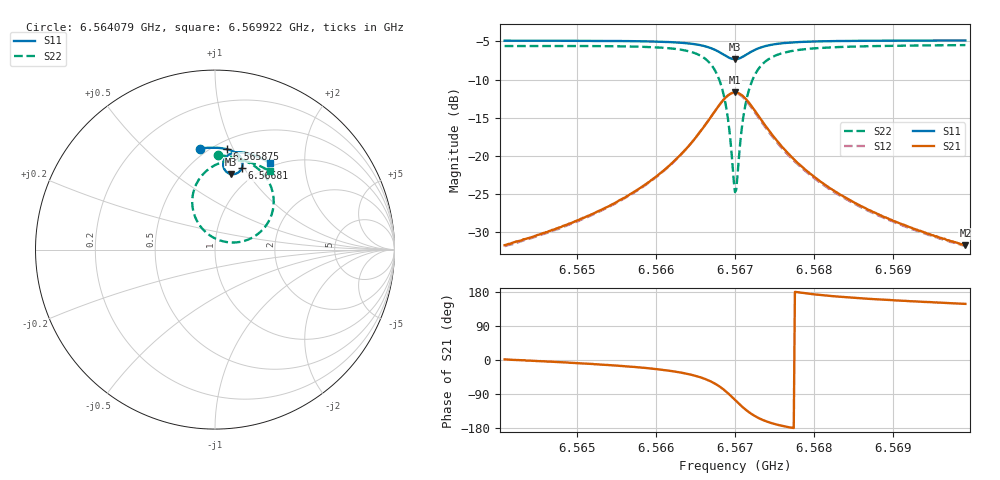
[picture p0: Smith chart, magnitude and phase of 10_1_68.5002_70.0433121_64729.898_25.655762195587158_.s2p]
#  HZ  S  RI  R  50.00
! Rohde & Schwarz Vector Network Analyzer
! Rohde-Schwarz,ZNB20-2Port,1311601062101988,3.16
! Created: UTC 3/20/2024, 5:04:07 PM
! freq[Hz]  re:S11  im:S11  re:S21  im:S21  re:S12  im:S12  re:S22  im:S22
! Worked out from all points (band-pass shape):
!   401 points, 6.564079 GHz to 6.569922 GHz, reference 50 ohm
!   highest |S21| = -11.68 dB at 6.567 GHz (marker M1); lowest = -31.7 dB at 6.569922 GHz (marker M2)
!   |S21| within 3 dB of the highest: 6.566709 GHz to 6.567293 GHz (584.1 kHz wide, 0.00889 % of centre)
!   lowest |S11| = -7.3 dB at 6.567 GHz (marker M3), VSWR 2.51, Z = 40.4 + j41.7 ohm
!   |S11| at or under -10 dB: nowhere
!   |S22| runs from -24.7 to -5.5 dB; largest |S21 - S12| = 0.012
!   S11 on the Smith chart (normalised r, x): 6.564079 GHz: 0.45, +0.75; 6.565875 GHz: 0.58, +0.95; 6.56681 GHz: 0.83, +0.97; 6.569922 GHz: 0.94, +1.35
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6.5640786e9  -0.0841 0.5627  0.026 0.000704  0.0256 0.000178  0.0145 0.5246
6.5650574e9  -0.00525 0.5679  0.0384 -0.00615  0.0378 -0.00667  0.1039 0.5145
6.5658754e9  0.0684 0.5589  0.0612 -0.0237  0.0601 -0.0245  0.2015 0.4772
6.5660361e9  0.0846 0.5542  0.0688 -0.0318  0.0677 -0.0326  0.2262 0.461
6.5663575e9  0.1201 0.5362  0.0886 -0.0617  0.0872 -0.0629  0.2844 0.4019
6.5665766e9  0.1445 0.5097  0.1016 -0.1078  0.0994 -0.1098  0.3225 0.3131
6.5667081e9  0.1534 0.4817  0.0975 -0.1565  0.0937 -0.1592  0.3222 0.2201
6.5668103e9  0.1486 0.4527  0.0718 -0.2065  0.0656 -0.2091  0.2785 0.1262
6.566898e9  0.1286 0.4289  0.0206 -0.245  0.0113 -0.2457  0.1858 0.0562
6.5669272e9  0.1183 0.4236  -0.00291 -0.2529  -0.0129 -0.252  0.1434 0.0435
6.5669856e9  0.0944 0.4203  -0.0553 -0.2544  -0.0656 -0.2502  0.0507 0.0447
6.5670002e9  0.0882 0.4212  -0.0684 -0.2516  -0.0786 -0.2465  0.0277 0.0509
6.5670295e9  0.0764 0.4251  -0.0934 -0.2421  -0.1029 -0.2352  -0.0151 0.0704
6.5670879e9  0.0576 0.4399  -0.1346 -0.2107  -0.1409 -0.2014  -0.082 0.1304
6.5671317e9  0.0491 0.4545  -0.1543 -0.1812  -0.1584 -0.1713  -0.1117 0.1844
6.5671901e9  0.0455 0.4745  -0.1669 -0.1419  -0.1682 -0.1321  -0.1266 0.2547
6.5672632e9  0.0494 0.4961  -0.1668 -0.0996  -0.1657 -0.0913  -0.1182 0.3278
6.5675261e9  0.0884 0.5346  -0.1251 -0.0215  -0.1224 -0.018  -0.0231 0.4571
6.567979e9  0.147 0.5422  -0.0744 0.00801  -0.0726 0.00916  0.0965 0.4963
6.568388e9  0.1872 0.535  -0.0522 0.0131  -0.051 0.0136  0.1618 0.4927
6.5689577e9  0.2347 0.5188  -0.0357 0.0143  -0.035 0.0145  0.226 0.4755
6.5699219e9  0.3043 0.4832  -0.0221 0.0137  -0.0216 0.0138  0.3056 0.436
